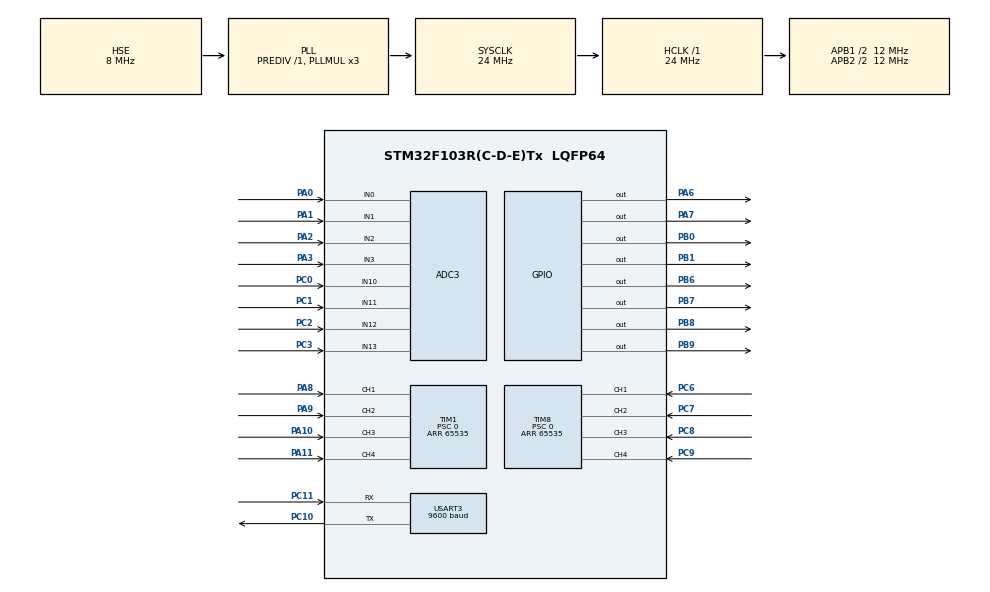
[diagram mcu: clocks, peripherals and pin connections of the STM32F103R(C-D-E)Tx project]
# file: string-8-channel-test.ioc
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ADC3.Channel-0\#ChannelRegularConversion=ADC_CHANNEL_0
ADC3.Channel-1\#ChannelRegularConversion=ADC_CHANNEL_0
ADC3.Channel-10\#ChannelRegularConversion=ADC_CHANNEL_3
ADC3.Channel-11\#ChannelRegularConversion=ADC_CHANNEL_10
ADC3.Channel-12\#ChannelRegularConversion=ADC_CHANNEL_11
ADC3.Channel-13\#ChannelRegularConversion=ADC_CHANNEL_12
ADC3.Channel-14\#ChannelRegularConversion=ADC_CHANNEL_13
ADC3.Channel-2\#ChannelRegularConversion=ADC_CHANNEL_0
ADC3.Channel-3\#ChannelRegularConversion=ADC_CHANNEL_0
ADC3.Channel-4\#ChannelRegularConversion=ADC_CHANNEL_0
ADC3.Channel-5\#ChannelRegularConversion=ADC_CHANNEL_0
ADC3.Channel-6\#ChannelRegularConversion=ADC_CHANNEL_0
ADC3.Channel-7\#ChannelRegularConversion=ADC_CHANNEL_0
ADC3.Channel-8\#ChannelRegularConversion=ADC_CHANNEL_1
ADC3.Channel-9\#ChannelRegularConversion=ADC_CHANNEL_2
ADC3.ContinuousConvMode=DISABLE
ADC3.DataAlign=ADC_DATAALIGN_RIGHT
ADC3.DiscontinuousConvMode=ENABLE
ADC3.EnableAnalogWatchDog=false
ADC3.EnableRegularConversion=ENABLE
ADC3.ExternalTrigConv=ADC_SOFTWARE_START
ADC3.InjNumberOfConversion=0
ADC3.NbrOfConversion=8
ADC3.NbrOfConversionFlag=1
ADC3.Rank-0\#ChannelRegularConversion=1
ADC3.Rank-1\#ChannelRegularConversion=2
ADC3.Rank-10\#ChannelRegularConversion=4
ADC3.Rank-11\#ChannelRegularConversion=5
ADC3.Rank-12\#ChannelRegularConversion=6
ADC3.Rank-13\#ChannelRegularConversion=7
ADC3.Rank-14\#ChannelRegularConversion=8
ADC3.Rank-2\#ChannelRegularConversion=3
ADC3.Rank-3\#ChannelRegularConversion=4
ADC3.Rank-4\#ChannelRegularConversion=5
ADC3.Rank-5\#ChannelRegularConversion=6
ADC3.Rank-6\#ChannelRegularConversion=7
ADC3.Rank-7\#ChannelRegularConversion=8
ADC3.Rank-8\#ChannelRegularConversion=2
ADC3.Rank-9\#ChannelRegularConversion=3
ADC3.SamplingTime-0\#ChannelRegularConversion=ADC_SAMPLETIME_1CYCLE_5
ADC3.SamplingTime-1\#ChannelRegularConversion=ADC_SAMPLETIME_1CYCLE_5
ADC3.SamplingTime-10\#ChannelRegularConversion=ADC_SAMPLETIME_1CYCLE_5
ADC3.SamplingTime-11\#ChannelRegularConversion=ADC_SAMPLETIME_1CYCLE_5
ADC3.SamplingTime-12\#ChannelRegularConversion=ADC_SAMPLETIME_1CYCLE_5
ADC3.SamplingTime-13\#ChannelRegularConversion=ADC_SAMPLETIME_1CYCLE_5
ADC3.SamplingTime-14\#ChannelRegularConversion=ADC_SAMPLETIME_1CYCLE_5
ADC3.SamplingTime-2\#ChannelRegularConversion=ADC_SAMPLETIME_1CYCLE_5
ADC3.SamplingTime-3\#ChannelRegularConversion=ADC_SAMPLETIME_1CYCLE_5
ADC3.SamplingTime-4\#ChannelRegularConversion=ADC_SAMPLETIME_1CYCLE_5
ADC3.SamplingTime-5\#ChannelRegularConversion=ADC_SAMPLETIME_1CYCLE_5
ADC3.SamplingTime-6\#ChannelRegularConversion=ADC_SAMPLETIME_1CYCLE_5
ADC3.SamplingTime-7\#ChannelRegularConversion=ADC_SAMPLETIME_1CYCLE_5
ADC3.SamplingTime-8\#ChannelRegularConversion=ADC_SAMPLETIME_1CYCLE_5
ADC3.SamplingTime-9\#ChannelRegularConversion=ADC_SAMPLETIME_1CYCLE_5
ADC3.ScanConvMode=ADC_SCAN_ENABLE
Dma.Request0=TIM8_CH1
Dma.Request1=TIM8_CH2
Dma.Request2=TIM8_CH3/UP
Dma.Request3=TIM8_CH4/TRIG/COM
Dma.Request4=TIM1_CH1
Dma.Request5=TIM1_CH2
Dma.Request6=TIM1_CH3
Dma.Request7=TIM1_CH4/TRIG/COM
Dma.TIM1_CH1.4.Direction=DMA_PERIPH_TO_MEMORY
Dma.TIM1_CH1.4.Instance=DMA1_Channel2
Dma.TIM1_CH1.4.MemDataAlignment=DMA_MDATAALIGN_HALFWORD
Dma.TIM1_CH1.4.MemInc=DMA_MINC_ENABLE
Dma.TIM1_CH1.4.Mode=DMA_NORMAL
Dma.TIM1_CH1.4.PeriphDataAlignment=DMA_PDATAALIGN_HALFWORD
Dma.TIM1_CH1.4.PeriphInc=DMA_PINC_DISABLE
Dma.TIM1_CH1.4.Priority=DMA_PRIORITY_LOW
Dma.TIM1_CH2.5.Direction=DMA_PERIPH_TO_MEMORY
Dma.TIM1_CH2.5.Instance=DMA1_Channel3
Dma.TIM1_CH2.5.MemDataAlignment=DMA_MDATAALIGN_HALFWORD
Dma.TIM1_CH2.5.MemInc=DMA_MINC_ENABLE
Dma.TIM1_CH2.5.Mode=DMA_NORMAL
Dma.TIM1_CH2.5.PeriphDataAlignment=DMA_PDATAALIGN_HALFWORD
Dma.TIM1_CH2.5.PeriphInc=DMA_PINC_DISABLE
Dma.TIM1_CH2.5.Priority=DMA_PRIORITY_LOW
Dma.TIM1_CH3.6.Direction=DMA_PERIPH_TO_MEMORY
Dma.TIM1_CH3.6.Instance=DMA1_Channel6
Dma.TIM1_CH3.6.MemDataAlignment=DMA_MDATAALIGN_HALFWORD
Dma.TIM1_CH3.6.MemInc=DMA_MINC_ENABLE
Dma.TIM1_CH3.6.Mode=DMA_NORMAL
Dma.TIM1_CH3.6.PeriphDataAlignment=DMA_PDATAALIGN_HALFWORD
Dma.TIM1_CH3.6.PeriphInc=DMA_PINC_DISABLE
Dma.TIM1_CH3.6.Priority=DMA_PRIORITY_LOW
Dma.TIM1_CH4/TRIG/COM.7.Direction=DMA_PERIPH_TO_MEMORY
Dma.TIM1_CH4/TRIG/COM.7.Instance=DMA1_Channel4
Dma.TIM1_CH4/TRIG/COM.7.MemDataAlignment=DMA_MDATAALIGN_HALFWORD
Dma.TIM1_CH4/TRIG/COM.7.MemInc=DMA_MINC_ENABLE
Dma.TIM1_CH4/TRIG/COM.7.Mode=DMA_NORMAL
Dma.TIM1_CH4/TRIG/COM.7.PeriphDataAlignment=DMA_PDATAALIGN_HALFWORD
Dma.TIM1_CH4/TRIG/COM.7.PeriphInc=DMA_PINC_DISABLE
Dma.TIM1_CH4/TRIG/COM.7.Priority=DMA_PRIORITY_LOW
Dma.TIM8_CH1.0.Direction=DMA_PERIPH_TO_MEMORY
Dma.TIM8_CH1.0.Instance=DMA2_Channel3
Dma.TIM8_CH1.0.MemDataAlignment=DMA_MDATAALIGN_HALFWORD
Dma.TIM8_CH1.0.MemInc=DMA_MINC_ENABLE
Dma.TIM8_CH1.0.Mode=DMA_NORMAL
Dma.TIM8_CH1.0.PeriphDataAlignment=DMA_PDATAALIGN_HALFWORD
Dma.TIM8_CH1.0.PeriphInc=DMA_PINC_DISABLE
Dma.TIM8_CH1.0.Priority=DMA_PRIORITY_LOW
Dma.TIM8_CH2.1.Direction=DMA_PERIPH_TO_MEMORY
Dma.TIM8_CH2.1.Instance=DMA2_Channel5
Dma.TIM8_CH2.1.MemDataAlignment=DMA_MDATAALIGN_HALFWORD
Dma.TIM8_CH2.1.MemInc=DMA_MINC_ENABLE
Dma.TIM8_CH2.1.Mode=DMA_NORMAL
Dma.TIM8_CH2.1.PeriphDataAlignment=DMA_PDATAALIGN_HALFWORD
Dma.TIM8_CH2.1.PeriphInc=DMA_PINC_DISABLE
Dma.TIM8_CH2.1.Priority=DMA_PRIORITY_LOW
Dma.TIM8_CH3/UP.2.Direction=DMA_PERIPH_TO_MEMORY
Dma.TIM8_CH3/UP.2.Instance=DMA2_Channel1
Dma.TIM8_CH3/UP.2.MemDataAlignment=DMA_MDATAALIGN_HALFWORD
Dma.TIM8_CH3/UP.2.MemInc=DMA_MINC_ENABLE
Dma.TIM8_CH3/UP.2.Mode=DMA_NORMAL
Dma.TIM8_CH3/UP.2.PeriphDataAlignment=DMA_PDATAALIGN_HALFWORD
Dma.TIM8_CH3/UP.2.PeriphInc=DMA_PINC_DISABLE
Dma.TIM8_CH3/UP.2.Priority=DMA_PRIORITY_LOW
Dma.TIM8_CH4/TRIG/COM.3.Direction=DMA_PERIPH_TO_MEMORY
Dma.TIM8_CH4/TRIG/COM.3.Instance=DMA2_Channel2
Dma.TIM8_CH4/TRIG/COM.3.MemDataAlignment=DMA_MDATAALIGN_HALFWORD
Dma.TIM8_CH4/TRIG/COM.3.MemInc=DMA_MINC_ENABLE
Dma.TIM8_CH4/TRIG/COM.3.Mode=DMA_NORMAL
Dma.TIM8_CH4/TRIG/COM.3.PeriphDataAlignment=DMA_PDATAALIGN_HALFWORD
Dma.TIM8_CH4/TRIG/COM.3.PeriphInc=DMA_PINC_DISABLE
Dma.TIM8_CH4/TRIG/COM.3.Priority=DMA_PRIORITY_LOW
Mcu.Family=STM32F1
Mcu.Name=STM32F103R(C-D-E)Tx
Mcu.Package=LQFP64
NVIC.DMA1_Channel2_IRQn=true\:0\:0\:false\:false\:true
NVIC.DMA1_Channel3_IRQn=true\:0\:0\:false\:false\:true
NVIC.DMA1_Channel4_IRQn=true\:0\:0\:false\:false\:true
NVIC.DMA1_Channel6_IRQn=true\:0\:0\:false\:false\:true
NVIC.DMA2_Channel1_IRQn=true\:0\:0\:false\:false\:true
NVIC.DMA2_Channel2_IRQn=true\:0\:0\:false\:false\:true
NVIC.DMA2_Channel3_IRQn=true\:0\:0\:false\:false\:true
NVIC.DMA2_Channel4_5_IRQn=true\:0\:0\:false\:false\:true
NVIC.PriorityGroup=NVIC_PRIORITYGROUP_4
NVIC.TIM2_IRQn=true\:0\:0\:false\:false\:true
PA0-WKUP.Signal=ADCx_IN0
PA1.Signal=ADCx_IN1
PA10.Signal=S_TIM1_CH3
PA11.Signal=S_TIM1_CH4
PA13.Mode=Serial_Wire
PA13.Signal=SYS_JTMS-SWDIO
PA14.Mode=Serial_Wire
PA14.Signal=SYS_JTCK-SWCLK
PA2.Signal=ADCx_IN2
PA3.Signal=ADCx_IN3
PA6.Signal=GPIO_Output
PA7.Signal=GPIO_Output
PA8.Signal=S_TIM1_CH1
PA9.Signal=S_TIM1_CH2
PB0.Signal=GPIO_Output
PB1.Signal=GPIO_Output
PB6.Signal=GPIO_Output
PB7.Signal=GPIO_Output
PB8.Signal=GPIO_Output
PB9.Signal=GPIO_Output
PC0.Signal=ADCx_IN10
PC1.Signal=ADCx_IN11
PC10.Mode=Asynchronous
PC10.Signal=USART3_TX
PC11.Mode=Asynchronous
PC11.Signal=USART3_RX
PC2.Signal=ADCx_IN12
PC3.Signal=ADCx_IN13
PC6.Signal=S_TIM8_CH1
PC7.Signal=S_TIM8_CH2
PC8.Signal=S_TIM8_CH3
PC9.Signal=S_TIM8_CH4
PD0-OSC_IN.Mode=HSE-External-Oscillator
PD0-OSC_IN.Signal=RCC_OSC_IN
PD1-OSC_OUT.Mode=HSE-External-Oscillator
PD1-OSC_OUT.Signal=RCC_OSC_OUT
ProjectManager.HeapSize=0x200
ProjectManager.StackSize=0x400
ProjectManager.TargetToolchain=MDK-ARM V5
RCC.AHBFreq_Value=24000000
RCC.APB1CLKDivider=RCC_HCLK_DIV2
RCC.APB1Freq_Value=12000000
RCC.APB1TimFreq_Value=24000000
RCC.APB2CLKDivider=RCC_HCLK_DIV2
RCC.APB2Freq_Value=12000000
RCC.APB2TimFreq_Value=24000000
RCC.HCLKFreq_Value=24000000
RCC.PLLMUL=RCC_PLL_MUL3
RCC.PLLSourceVirtual=RCC_PLLSOURCE_HSE
RCC.SYSCLKFreq_VALUE=24000000
RCC.SYSCLKSource=RCC_SYSCLKSOURCE_PLLCLK
RCC.USBFreq_Value=24000000
SH.ADCx_IN0.0=ADC1_IN0
SH.ADCx_IN0.1=ADC3_IN0,IN0
SH.ADCx_IN1.0=ADC1_IN1
SH.ADCx_IN1.1=ADC3_IN1,IN1
SH.ADCx_IN10.0=ADC3_IN10,IN10
SH.ADCx_IN11.0=ADC3_IN11,IN11
SH.ADCx_IN12.0=ADC3_IN12,IN12
SH.ADCx_IN13.0=ADC3_IN13,IN13
SH.ADCx_IN2.0=ADC1_IN2
SH.ADCx_IN2.1=ADC3_IN2,IN2
SH.ADCx_IN3.0=ADC1_IN3
SH.ADCx_IN3.1=ADC3_IN3,IN3
SH.S_TIM1_CH1.0=TIM1_CH1,Input_Capture1_from_TI1
SH.S_TIM1_CH2.0=TIM1_CH2,Input_Capture2_from_TI2
SH.S_TIM1_CH3.0=TIM1_CH3,Input_Capture3_from_TI3
SH.S_TIM1_CH4.0=TIM1_CH4,Input_Capture4_from_TI4
SH.S_TIM8_CH1.0=TIM8_CH1,Input_Capture1_from_TI1
SH.S_TIM8_CH2.0=TIM8_CH2,Input_Capture2_from_TI2
SH.S_TIM8_CH3.0=TIM8_CH3,Input_Capture3_from_TI3
SH.S_TIM8_CH4.0=TIM8_CH4,Input_Capture4_from_TI4
TIM1.Channel-Input_Capture1_from_TI1=TIM_CHANNEL_1
TIM1.Channel-Input_Capture2_from_TI2=TIM_CHANNEL_2
TIM1.Channel-Input_Capture3_from_TI3=TIM_CHANNEL_3
TIM1.Channel-Input_Capture4_from_TI4=TIM_CHANNEL_4
TIM1.Period=65535
TIM1.Prescaler=0
TIM2.AutoReloadPreload=TIM_AUTORELOAD_PRELOAD_DISABLE
TIM2.CounterMode=TIM_COUNTERMODE_UP
TIM2.Period=49
TIM2.Prescaler=23999
TIM8.Channel-Input_Capture1_from_TI1=TIM_CHANNEL_1
TIM8.Channel-Input_Capture2_from_TI2=TIM_CHANNEL_2
TIM8.Channel-Input_Capture3_from_TI3=TIM_CHANNEL_3
TIM8.Channel-Input_Capture4_from_TI4=TIM_CHANNEL_4
TIM8.Period=65535
TIM8.Prescaler=0
USART3.BaudRate=9600
USART3.VirtualMode=VM_ASYNC
VP_TIM2_VS_ClockSourceINT.Mode=Internal
board=string-8-channel-test

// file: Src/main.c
/**
  ******************************************************************************
  * File Name          : main.c
  * Description        : Main program body
  ******************************************************************************
  ** This notice applies to any and all portions of this file
  * that are not between comment pairs USER CODE BEGIN and
  * USER CODE END. Other portions of this file, whether
  * inserted by the user or by software development tools
  * are owned by their respective copyright owners.
  *
  * COPYRIGHT(c) 2017 STMicroelectronics
  *
  * Redistribution and use in source and binary forms, with or without modification,
  * are permitted provided that the following conditions are met:
  *   1. Redistributions of source code must retain the above copyright notice,
  *      this list of conditions and the following disclaimer.
  *   2. Redistributions in binary form must reproduce the above copyright notice,
  *      this list of conditions and the following disclaimer in the documentation
  *      and/or other materials provided with the distribution.
  *   3. Neither the name of STMicroelectronics nor the names of its contributors
  *      may be used to endorse or promote products derived from this software
  *      without specific prior written permission.
  *
  * THIS SOFTWARE IS PROVIDED BY THE COPYRIGHT HOLDERS AND CONTRIBUTORS "AS IS"
  * AND ANY EXPRESS OR IMPLIED WARRANTIES, INCLUDING, BUT NOT LIMITED TO, THE
  * IMPLIED WARRANTIES OF MERCHANTABILITY AND FITNESS FOR A PARTICULAR PURPOSE ARE
  * DISCLAIMED. IN NO EVENT SHALL THE COPYRIGHT HOLDER OR CONTRIBUTORS BE LIABLE
  * FOR ANY DIRECT, INDIRECT, INCIDENTAL, SPECIAL, EXEMPLARY, OR CONSEQUENTIAL
  * DAMAGES (INCLUDING, BUT NOT LIMITED TO, PROCUREMENT OF SUBSTITUTE GOODS OR
  * SERVICES; LOSS OF USE, DATA, OR PROFITS; OR BUSINESS INTERRUPTION) HOWEVER
  * CAUSED AND ON ANY THEORY OF LIABILITY, WHETHER IN CONTRACT, STRICT LIABILITY,
  * OR TORT (INCLUDING NEGLIGENCE OR OTHERWISE) ARISING IN ANY WAY OUT OF THE USE
  * OF THIS SOFTWARE, EVEN IF ADVISED OF THE POSSIBILITY OF SUCH DAMAGE.
  *
  ******************************************************************************
  */
#include "main.h"
#include "stm32f1xx_hal.h"

/* USER CODE BEGIN Includes */
#include <math.h>
/* USER CODE END Includes */

ADC_HandleTypeDef hadc3;

TIM_HandleTypeDef htim1;
TIM_HandleTypeDef htim2;
TIM_HandleTypeDef htim8;
DMA_HandleTypeDef hdma_tim1_ch1;
DMA_HandleTypeDef hdma_tim1_ch2;
DMA_HandleTypeDef hdma_tim1_ch3;
DMA_HandleTypeDef hdma_tim1_ch4_trig_com;
DMA_HandleTypeDef hdma_tim8_ch1;
DMA_HandleTypeDef hdma_tim8_ch2;
DMA_HandleTypeDef hdma_tim8_ch3_up;
DMA_HandleTypeDef hdma_tim8_ch4_trig_com;

UART_HandleTypeDef huart3;

/* USER CODE BEGIN PV */
/* Private variables ---------------------------------------------------------*/
char test[10] = "test!\r\n";
uint16_t Capture[8][30];
volatile uint8_t state = 0;
volatile uint8_t timeout_flag = 0;
volatile uint8_t send_flag = 0;
volatile uint8_t capture_flag = 0;
volatile float cycleaverage[8] = {0};
volatile uint8_t capture_cplt = 0;
volatile uint8_t capture_fini = 0;

extern uint16_t cycle[30];

uint32_t size = 25;
float Frequency = 0;
float Temperature = 0;

TIM_HandleTypeDef *htim[8];
DMA_HandleTypeDef *hdma[8];

float adcbuf[8] = {0};
float	A = 0.0014051f;
float B = 0.0002369f;
float C = 0.0000001019f;

uint8_t data_buf[34] = {
	'S',
	0,0,0,0,
	0,0,0,0,
	0,0,0,0,
	0,0,0,0,
	0,0,0,0,
	0,0,0,0,
	0,0,0,0,
	0,0,0,0,
  'E'};

uint8_t data_test[46];

GPIO_TypeDef* STRING_GPIO[8] = {
	GPIOA,
	GPIOA,
  GPIOB,
  GPIOB,
	GPIOB,
	GPIOB,
  GPIOB,
  GPIOB};

uint16_t STRING_PIN[8] = {
	GPIO_PIN_6,
  GPIO_PIN_7,
	GPIO_PIN_0,
	GPIO_PIN_1,
	GPIO_PIN_6,
	GPIO_PIN_7,
	GPIO_PIN_8,
	GPIO_PIN_9};

uint32_t TIM_CHANNEL[8] = {
	TIM_CHANNEL_1,
	TIM_CHANNEL_2,
	TIM_CHANNEL_3,
	TIM_CHANNEL_4,
	TIM_CHANNEL_1,
	TIM_CHANNEL_2,
	TIM_CHANNEL_3,
	TIM_CHANNEL_4};

/* USER CODE END PV */

void SystemClock_Config(void);
static void MX_GPIO_Init(void);
static void MX_DMA_Init(void);
static void MX_TIM1_Init(void);
static void MX_TIM8_Init(void);
static void MX_USART3_UART_Init(void);
static void MX_TIM2_Init(void);
static void MX_ADC3_Init(void);

/* USER CODE BEGIN PFP */
/* Private function prototypes -----------------------------------------------*/
void capture(void);
void MEASUREMENT(int group);
void get_temperature(void);
/* USER CODE END PFP */

int main(void)
{

  /* MCU Configuration----------------------------------------------------------*/

  /* Reset of all peripherals, Initializes the Flash interface and the Systick. */
  HAL_Init();

  /* Configure the system clock */
  SystemClock_Config();

  /* Initialize all configured peripherals */
  MX_GPIO_Init();
  MX_DMA_Init();
  MX_TIM1_Init();
  MX_TIM8_Init();
  MX_USART3_UART_Init();
  MX_TIM2_Init();
  MX_ADC3_Init();

  /* USER CODE BEGIN 2 */
	htim[0] = &htim1;
	htim[1] = &htim1;
	htim[2] = &htim1;
	htim[3] = &htim1;
	htim[4] = &htim8;
	htim[5] = &htim8;
	htim[6] = &htim8;
	htim[7] = &htim8;

	HAL_TIM_Base_Start_IT(&htim2);

  /* USER CODE END 2 */

  /* Infinite loop */
  while (1)
  {

  /* USER CODE BEGIN 3 */
		capture();
		HAL_UART_Transmit(&huart3,(uint8_t *)data_buf,34,1000);
		//HAL_UART_Transmit(&huart3,(uint8_t *)data_test,46,1000);

  }
  /* USER CODE END 3 */

}

/** System Clock Configuration
*/
void SystemClock_Config(void)
{

  RCC_OscInitTypeDef RCC_OscInitStruct;
  RCC_ClkInitTypeDef RCC_ClkInitStruct;
  RCC_PeriphCLKInitTypeDef PeriphClkInit;

    /**Initializes the CPU, AHB and APB busses clocks
    */
  RCC_OscInitStruct.OscillatorType = RCC_OSCILLATORTYPE_HSE;
  RCC_OscInitStruct.HSEState = RCC_HSE_ON;
  RCC_OscInitStruct.HSEPredivValue = RCC_HSE_PREDIV_DIV1;
  RCC_OscInitStruct.HSIState = RCC_HSI_ON;
  RCC_OscInitStruct.PLL.PLLState = RCC_PLL_ON;
  RCC_OscInitStruct.PLL.PLLSource = RCC_PLLSOURCE_HSE;
  RCC_OscInitStruct.PLL.PLLMUL = RCC_PLL_MUL3;
  if (HAL_RCC_OscConfig(&RCC_OscInitStruct) != HAL_OK)
  {
    _Error_Handler(__FILE__, __LINE__);
  }

    /**Initializes the CPU, AHB and APB busses clocks
    */
  RCC_ClkInitStruct.ClockType = RCC_CLOCKTYPE_HCLK|RCC_CLOCKTYPE_SYSCLK
                              |RCC_CLOCKTYPE_PCLK1|RCC_CLOCKTYPE_PCLK2;
  RCC_ClkInitStruct.SYSCLKSource = RCC_SYSCLKSOURCE_PLLCLK;
  RCC_ClkInitStruct.AHBCLKDivider = RCC_SYSCLK_DIV1;
  RCC_ClkInitStruct.APB1CLKDivider = RCC_HCLK_DIV2;
  RCC_ClkInitStruct.APB2CLKDivider = RCC_HCLK_DIV2;

  if (HAL_RCC_ClockConfig(&RCC_ClkInitStruct, FLASH_LATENCY_0) != HAL_OK)
  {
    _Error_Handler(__FILE__, __LINE__);
  }

  PeriphClkInit.PeriphClockSelection = RCC_PERIPHCLK_ADC;
  PeriphClkInit.AdcClockSelection = RCC_ADCPCLK2_DIV2;
  if (HAL_RCCEx_PeriphCLKConfig(&PeriphClkInit) != HAL_OK)
  {
    _Error_Handler(__FILE__, __LINE__);
  }

    /**Configure the Systick interrupt time
    */
  HAL_SYSTICK_Config(HAL_RCC_GetHCLKFreq()/1000);

    /**Configure the Systick
    */
  HAL_SYSTICK_CLKSourceConfig(SYSTICK_CLKSOURCE_HCLK);

  /* SysTick_IRQn interrupt configuration */
  HAL_NVIC_SetPriority(SysTick_IRQn, 0, 0);
}

/* ADC3 init function */
static void MX_ADC3_Init(void)
{

  ADC_ChannelConfTypeDef sConfig;

    /**Common config
    */
  hadc3.Instance = ADC3;
  hadc3.Init.ScanConvMode = ADC_SCAN_ENABLE;
  hadc3.Init.ContinuousConvMode = DISABLE;
  hadc3.Init.DiscontinuousConvMode = ENABLE;
  hadc3.Init.NbrOfDiscConversion = 1;
  hadc3.Init.ExternalTrigConv = ADC_SOFTWARE_START;
  hadc3.Init.DataAlign = ADC_DATAALIGN_RIGHT;
  hadc3.Init.NbrOfConversion = 8;
  if (HAL_ADC_Init(&hadc3) != HAL_OK)
  {
    _Error_Handler(__FILE__, __LINE__);
  }

    /**Configure Regular Channel
    */
  sConfig.Channel = ADC_CHANNEL_0;
  sConfig.Rank = 1;
  sConfig.SamplingTime = ADC_SAMPLETIME_1CYCLE_5;
  if (HAL_ADC_ConfigChannel(&hadc3, &sConfig) != HAL_OK)
  {
    _Error_Handler(__FILE__, __LINE__);
  }

    /**Configure Regular Channel
    */
  sConfig.Rank = 2;
  if (HAL_ADC_ConfigChannel(&hadc3, &sConfig) != HAL_OK)
  {
    _Error_Handler(__FILE__, __LINE__);
  }

    /**Configure Regular Channel
    */
  sConfig.Rank = 3;
  if (HAL_ADC_ConfigChannel(&hadc3, &sConfig) != HAL_OK)
  {
    _Error_Handler(__FILE__, __LINE__);
  }

    /**Configure Regular Channel
    */
  sConfig.Rank = 4;
  if (HAL_ADC_ConfigChannel(&hadc3, &sConfig) != HAL_OK)
  {
    _Error_Handler(__FILE__, __LINE__);
  }

    /**Configure Regular Channel
    */
  sConfig.Rank = 5;
  if (HAL_ADC_ConfigChannel(&hadc3, &sConfig) != HAL_OK)
  {
    _Error_Handler(__FILE__, __LINE__);
  }

    /**Configure Regular Channel
    */
  sConfig.Rank = 6;
  if (HAL_ADC_ConfigChannel(&hadc3, &sConfig) != HAL_OK)
  {
    _Error_Handler(__FILE__, __LINE__);
  }

    /**Configure Regular Channel
    */
  sConfig.Rank = 7;
  if (HAL_ADC_ConfigChannel(&hadc3, &sConfig) != HAL_OK)
  {
    _Error_Handler(__FILE__, __LINE__);
  }

    /**Configure Regular Channel
    */
  sConfig.Rank = 8;
  if (HAL_ADC_ConfigChannel(&hadc3, &sConfig) != HAL_OK)
  {
    _Error_Handler(__FILE__, __LINE__);
  }

    /**Configure Regular Channel
    */
  sConfig.Channel = ADC_CHANNEL_1;
  sConfig.Rank = 2;
  if (HAL_ADC_ConfigChannel(&hadc3, &sConfig) != HAL_OK)
  {
    _Error_Handler(__FILE__, __LINE__);
  }

    /**Configure Regular Channel
    */
  sConfig.Channel = ADC_CHANNEL_2;
  sConfig.Rank = 3;
  if (HAL_ADC_ConfigChannel(&hadc3, &sConfig) != HAL_OK)
  {
    _Error_Handler(__FILE__, __LINE__);
  }

    /**Configure Regular Channel
    */
  sConfig.Channel = ADC_CHANNEL_3;
  sConfig.Rank = 4;
  if (HAL_ADC_ConfigChannel(&hadc3, &sConfig) != HAL_OK)
  {
    _Error_Handler(__FILE__, __LINE__);
  }

    /**Configure Regular Channel
    */
  sConfig.Channel = ADC_CHANNEL_10;
  sConfig.Rank = 5;
  if (HAL_ADC_ConfigChannel(&hadc3, &sConfig) != HAL_OK)
  {
    _Error_Handler(__FILE__, __LINE__);
  }

    /**Configure Regular Channel
    */
  sConfig.Channel = ADC_CHANNEL_11;
  sConfig.Rank = 6;
  if (HAL_ADC_ConfigChannel(&hadc3, &sConfig) != HAL_OK)
  {
    _Error_Handler(__FILE__, __LINE__);
  }

    /**Configure Regular Channel
    */
  sConfig.Channel = ADC_CHANNEL_12;
  sConfig.Rank = 7;
  if (HAL_ADC_ConfigChannel(&hadc3, &sConfig) != HAL_OK)
  {
    _Error_Handler(__FILE__, __LINE__);
  }

    /**Configure Regular Channel
    */
  sConfig.Channel = ADC_CHANNEL_13;
  sConfig.Rank = 8;
  if (HAL_ADC_ConfigChannel(&hadc3, &sConfig) != HAL_OK)
  {
    _Error_Handler(__FILE__, __LINE__);
  }

}

/* TIM1 init function */
static void MX_TIM1_Init(void)
{

  TIM_MasterConfigTypeDef sMasterConfig;
  TIM_IC_InitTypeDef sConfigIC;

  htim1.Instance = TIM1;
  htim1.Init.Prescaler = 0;
  htim1.Init.CounterMode = TIM_COUNTERMODE_UP;
  htim1.Init.Period = 65535;
  htim1.Init.ClockDivision = TIM_CLOCKDIVISION_DIV1;
  htim1.Init.RepetitionCounter = 0;
  htim1.Init.AutoReloadPreload = TIM_AUTORELOAD_PRELOAD_DISABLE;
  if (HAL_TIM_IC_Init(&htim1) != HAL_OK)
  {
    _Error_Handler(__FILE__, __LINE__);
  }

  sMasterConfig.MasterOutputTrigger = TIM_TRGO_RESET;
  sMasterConfig.MasterSlaveMode = TIM_MASTERSLAVEMODE_DISABLE;
  if (HAL_TIMEx_MasterConfigSynchronization(&htim1, &sMasterConfig) != HAL_OK)
  {
    _Error_Handler(__FILE__, __LINE__);
  }

  sConfigIC.ICPolarity = TIM_INPUTCHANNELPOLARITY_RISING;
  sConfigIC.ICSelection = TIM_ICSELECTION_DIRECTTI;
  sConfigIC.ICPrescaler = TIM_ICPSC_DIV1;
  sConfigIC.ICFilter = 0;
  if (HAL_TIM_IC_ConfigChannel(&htim1, &sConfigIC, TIM_CHANNEL_1) != HAL_OK)
  {
    _Error_Handler(__FILE__, __LINE__);
  }

  if (HAL_TIM_IC_ConfigChannel(&htim1, &sConfigIC, TIM_CHANNEL_2) != HAL_OK)
  {
    _Error_Handler(__FILE__, __LINE__);
  }

  if (HAL_TIM_IC_ConfigChannel(&htim1, &sConfigIC, TIM_CHANNEL_3) != HAL_OK)
  {
    _Error_Handler(__FILE__, __LINE__);
  }

  if (HAL_TIM_IC_ConfigChannel(&htim1, &sConfigIC, TIM_CHANNEL_4) != HAL_OK)
  {
    _Error_Handler(__FILE__, __LINE__);
  }

}

/* TIM2 init function */
static void MX_TIM2_Init(void)
{

  TIM_ClockConfigTypeDef sClockSourceConfig;
  TIM_MasterConfigTypeDef sMasterConfig;

  htim2.Instance = TIM2;
  htim2.Init.Prescaler = 23999;
  htim2.Init.CounterMode = TIM_COUNTERMODE_UP;
  htim2.Init.Period = 49;
  htim2.Init.ClockDivision = TIM_CLOCKDIVISION_DIV1;
  htim2.Init.AutoReloadPreload = TIM_AUTORELOAD_PRELOAD_DISABLE;
  if (HAL_TIM_Base_Init(&htim2) != HAL_OK)
  {
    _Error_Handler(__FILE__, __LINE__);
  }

  sClockSourceConfig.ClockSource = TIM_CLOCKSOURCE_INTERNAL;
  if (HAL_TIM_ConfigClockSource(&htim2, &sClockSourceConfig) != HAL_OK)
  {
    _Error_Handler(__FILE__, __LINE__);
  }

  sMasterConfig.MasterOutputTrigger = TIM_TRGO_RESET;
  sMasterConfig.MasterSlaveMode = TIM_MASTERSLAVEMODE_DISABLE;
  if (HAL_TIMEx_MasterConfigSynchronization(&htim2, &sMasterConfig) != HAL_OK)
  {
    _Error_Handler(__FILE__, __LINE__);
  }

}

/* TIM8 init function */
static void MX_TIM8_Init(void)
{

  TIM_MasterConfigTypeDef sMasterConfig;
  TIM_IC_InitTypeDef sConfigIC;

  htim8.Instance = TIM8;
  htim8.Init.Prescaler = 0;
  htim8.Init.CounterMode = TIM_COUNTERMODE_UP;
  htim8.Init.Period = 65535;
  htim8.Init.ClockDivision = TIM_CLOCKDIVISION_DIV1;
  htim8.Init.RepetitionCounter = 0;
  htim8.Init.AutoReloadPreload = TIM_AUTORELOAD_PRELOAD_DISABLE;
  if (HAL_TIM_IC_Init(&htim8) != HAL_OK)
  {
    _Error_Handler(__FILE__, __LINE__);
  }

  sMasterConfig.MasterOutputTrigger = TIM_TRGO_RESET;
  sMasterConfig.MasterSlaveMode = TIM_MASTERSLAVEMODE_DISABLE;
  if (HAL_TIMEx_MasterConfigSynchronization(&htim8, &sMasterConfig) != HAL_OK)
  {
    _Error_Handler(__FILE__, __LINE__);
  }

  sConfigIC.ICPolarity = TIM_INPUTCHANNELPOLARITY_RISING;
  sConfigIC.ICSelection = TIM_ICSELECTION_DIRECTTI;
  sConfigIC.ICPrescaler = TIM_ICPSC_DIV1;
  sConfigIC.ICFilter = 0;
  if (HAL_TIM_IC_ConfigChannel(&htim8, &sConfigIC, TIM_CHANNEL_1) != HAL_OK)
  {
    _Error_Handler(__FILE__, __LINE__);
  }

  if (HAL_TIM_IC_ConfigChannel(&htim8, &sConfigIC, TIM_CHANNEL_2) != HAL_OK)
  {
    _Error_Handler(__FILE__, __LINE__);
  }

  if (HAL_TIM_IC_ConfigChannel(&htim8, &sConfigIC, TIM_CHANNEL_3) != HAL_OK)
  {
    _Error_Handler(__FILE__, __LINE__);
  }

  if (HAL_TIM_IC_ConfigChannel(&htim8, &sConfigIC, TIM_CHANNEL_4) != HAL_OK)
  {
    _Error_Handler(__FILE__, __LINE__);
  }

}

/* USART3 init function */
static void MX_USART3_UART_Init(void)
{

  huart3.Instance = USART3;
  huart3.Init.BaudRate = 9600;
  huart3.Init.WordLength = UART_WORDLENGTH_8B;
  huart3.Init.StopBits = UART_STOPBITS_1;
  huart3.Init.Parity = UART_PARITY_NONE;
  huart3.Init.Mode = UART_MODE_TX_RX;
  huart3.Init.HwFlowCtl = UART_HWCONTROL_NONE;
  huart3.Init.OverSampling = UART_OVERSAMPLING_16;
  if (HAL_UART_Init(&huart3) != HAL_OK)
  {
    _Error_Handler(__FILE__, __LINE__);
  }

}

static void MX_DMA_Init(void)
{
  /* DMA controller clock enable */
  __HAL_RCC_DMA2_CLK_ENABLE();
  __HAL_RCC_DMA1_CLK_ENABLE();

  /* DMA interrupt init */
  /* DMA1_Channel2_IRQn interrupt configuration */
  HAL_NVIC_SetPriority(DMA1_Channel2_IRQn, 0, 0);
  HAL_NVIC_EnableIRQ(DMA1_Channel2_IRQn);
  /* DMA1_Channel3_IRQn interrupt configuration */
  HAL_NVIC_SetPriority(DMA1_Channel3_IRQn, 0, 0);
  HAL_NVIC_EnableIRQ(DMA1_Channel3_IRQn);
  /* DMA1_Channel4_IRQn interrupt configuration */
  HAL_NVIC_SetPriority(DMA1_Channel4_IRQn, 0, 0);
  HAL_NVIC_EnableIRQ(DMA1_Channel4_IRQn);
  /* DMA1_Channel6_IRQn interrupt configuration */
  HAL_NVIC_SetPriority(DMA1_Channel6_IRQn, 0, 0);
  HAL_NVIC_EnableIRQ(DMA1_Channel6_IRQn);
  /* DMA2_Channel1_IRQn interrupt configuration */
  HAL_NVIC_SetPriority(DMA2_Channel1_IRQn, 0, 0);
  HAL_NVIC_EnableIRQ(DMA2_Channel1_IRQn);
  /* DMA2_Channel2_IRQn interrupt configuration */
  HAL_NVIC_SetPriority(DMA2_Channel2_IRQn, 0, 0);
  HAL_NVIC_EnableIRQ(DMA2_Channel2_IRQn);
  /* DMA2_Channel3_IRQn interrupt configuration */
  HAL_NVIC_SetPriority(DMA2_Channel3_IRQn, 0, 0);
  HAL_NVIC_EnableIRQ(DMA2_Channel3_IRQn);
  /* DMA2_Channel4_5_IRQn interrupt configuration */
  HAL_NVIC_SetPriority(DMA2_Channel4_5_IRQn, 0, 0);
  HAL_NVIC_EnableIRQ(DMA2_Channel4_5_IRQn);

}

/** Configure pins as
        * Analog
        * Input
        * Output
        * EVENT_OUT
        * EXTI
     PA0-WKUP   ------> ADCx_IN0
     PA1   ------> ADCx_IN1
     PA2   ------> ADCx_IN2
     PA3   ------> ADCx_IN3
*/
static void MX_GPIO_Init(void)
{

  GPIO_InitTypeDef GPIO_InitStruct;

  /* GPIO Ports Clock Enable */
  __HAL_RCC_GPIOD_CLK_ENABLE();
  __HAL_RCC_GPIOC_CLK_ENABLE();
  __HAL_RCC_GPIOA_CLK_ENABLE();
  __HAL_RCC_GPIOB_CLK_ENABLE();

  /*Configure GPIO pin Output Level */
  HAL_GPIO_WritePin(GPIOA, GPIO_PIN_6|GPIO_PIN_7, GPIO_PIN_RESET);

  /*Configure GPIO pin Output Level */
  HAL_GPIO_WritePin(GPIOB, GPIO_PIN_0|GPIO_PIN_1|GPIO_PIN_6|GPIO_PIN_7
                          |GPIO_PIN_8|GPIO_PIN_9, GPIO_PIN_RESET);

  /*Configure GPIO pins : PA0 PA1 PA2 PA3 */
  GPIO_InitStruct.Pin = GPIO_PIN_0|GPIO_PIN_1|GPIO_PIN_2|GPIO_PIN_3;
  GPIO_InitStruct.Mode = GPIO_MODE_ANALOG;
  HAL_GPIO_Init(GPIOA, &GPIO_InitStruct);

  /*Configure GPIO pins : PA6 PA7 */
  GPIO_InitStruct.Pin = GPIO_PIN_6|GPIO_PIN_7;
  GPIO_InitStruct.Mode = GPIO_MODE_OUTPUT_PP;
  GPIO_InitStruct.Speed = GPIO_SPEED_FREQ_LOW;
  HAL_GPIO_Init(GPIOA, &GPIO_InitStruct);

  /*Configure GPIO pins : PB0 PB1 PB6 PB7
                           PB8 PB9 */
  GPIO_InitStruct.Pin = GPIO_PIN_0|GPIO_PIN_1|GPIO_PIN_6|GPIO_PIN_7
                          |GPIO_PIN_8|GPIO_PIN_9;
  GPIO_InitStruct.Mode = GPIO_MODE_OUTPUT_PP;
  GPIO_InitStruct.Speed = GPIO_SPEED_FREQ_LOW;
  HAL_GPIO_Init(GPIOB, &GPIO_InitStruct);

}

/* USER CODE BEGIN 4 */
void HAL_TIM_IC_CaptureCallback(TIM_HandleTypeDef *htim)
{
	capture_cplt = 1;
}

void write_to_data_buf(int num,uint16_t Freq, uint16_t Temp)
{
	data_buf[num * 4 + 1] = (uint8_t)((Freq&0xff00)>>8);
	data_buf[num * 4 + 2] = (uint8_t)(Freq&0x00ff);
	data_buf[num * 4 + 3] = (uint8_t)((Temp&0xff00)>>8);
	data_buf[num * 4 + 4] = (uint8_t)(Temp&0x00ff);
}

void write_to_data_test(int num,uint16_t Freq)
{
	data_test[num * 2] = (uint8_t)((Freq&0xff00)>>8);
	data_test[num * 2 + 1] = (uint8_t)(Freq&0x00ff);
}

void get_temperature()
{
	int i;
	for(i = 0;i < 8;i ++)
	{
		HAL_ADC_Start(&hadc3);
		HAL_ADC_PollForConversion(&hadc3,1000);
		adcbuf[i]=HAL_ADC_GetValue(&hadc3);
	}
	HAL_ADC_Stop(&hadc3);
}

void capture()
{
		int i, j;
		float temp_log;

	  for(i = 0;i < 8;i ++)
		{
			MEASUREMENT(i);

				capture_cplt = 0;
				capture_fini = 0;

				HAL_TIM_IC_Start_DMA(htim[i], TIM_CHANNEL[i], (uint32_t *)Capture[i], size);

				timeout_flag = 1;
				while((capture_fini == 0) && (timeout_flag < 3)) ;
				if(capture_fini == 0)
				{
					HAL_TIM_IC_Stop_DMA(htim[i], TIM_CHANNEL[i]);
				}

				capture_cplt = 0;
				capture_fini = 0;
				timeout_flag = 0;

		}
		get_temperature();

		for(i = 0;i < 8; i ++)
		{
			Frequency=240000000.0f/cycleaverage[i] + 0.5f;
			Temperature = adcbuf[i];
			temp_log = log(Temperature * 4.5185f);
			Temperature = (1.0f / (A + B * temp_log + C * temp_log * temp_log * temp_log) - 273.2f) * 100.0f;
			write_to_data_buf(i,(uint16_t)(Frequency),(uint16_t)(Temperature));
		}
		/*for(i = 0;i < 23; i ++)
		{
			Frequency=240000000.0f/cycle[i + 1] + 0.5f;
			write_to_data_test(i,(uint16_t)(Frequency));
		}*/
}

void MEASUREMENT(int group)
{
	unsigned int i,j;

	i = 1200;
  while(i>=1000)
	{
		j = i;
		HAL_GPIO_WritePin(STRING_GPIO[group], STRING_PIN[group], GPIO_PIN_SET);
		while(j)
		{
				__nop();__nop();__nop();__nop();__nop();__nop();__nop();__nop();__nop();__nop();
				j = j - 1;
		}

		j = i;
		HAL_GPIO_WritePin(STRING_GPIO[group], STRING_PIN[group], GPIO_PIN_RESET);
		while(j)
		{
			 __nop();__nop();__nop();__nop();__nop();__nop();__nop();__nop();__nop();__nop();
			 j = j - 1;
		}
		i = i - 1;
	}

	HAL_Delay(250);
}
/* USER CODE END 4 */

void _Error_Handler(char * file, int line)
{
  while(1)
  {
  }
}

/************************ (C) COPYRIGHT STMicroelectronics *****END OF FILE****/
